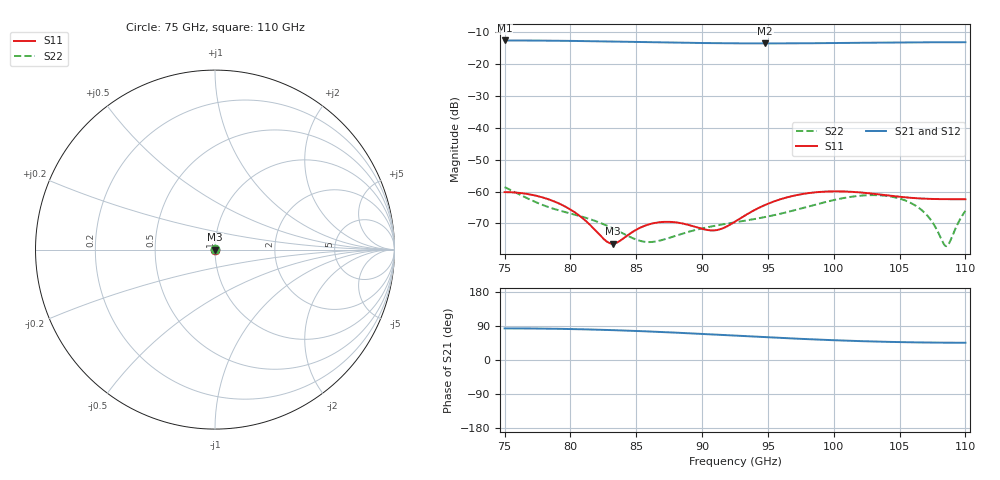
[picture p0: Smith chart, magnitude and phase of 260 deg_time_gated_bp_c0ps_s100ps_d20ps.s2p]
# Hz S RI R 50.000000
! Metas.Vna.Tools, 2.4.7724.19584
! Metas.Vna.Data, 2.4.7724.19560
! Created: UTC 2021.04.29 12:40:11
! FREQ  re:S1,1  im:S1,1  re:S2,1  im:S2,1  re:S1,2  im:S1,2  re:S2,2  im:S2,2
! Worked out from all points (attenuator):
!   1401 points, 75 GHz to 110 GHz, reference 50 ohm
!   highest |S21| = -12.67 dB at 75 GHz (marker M1); lowest = -13.6 dB at 94.8 GHz (marker M2)
!   lowest |S11| = -76.3 dB at 83.2 GHz (marker M3), VSWR 1.00, Z = 50 + j0.00247 ohm
!   |S11| at or under -10 dB: start of sweep to end of sweep
!   |S22| runs from -77.1 to -58.6 dB; largest |S21 - S12| = 0.007
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7.5e10  -9.76e-05 -0.000974  0.0265 0.2309  0.0199 0.2334  -0.000127 0.00117
7.82e10  -0.000132 -0.00076  0.0292 0.229  0.0227 0.2315  0.000332 0.000479
7.96e10  -0.000156 -0.00056  0.032 0.227  0.0256 0.2296  0.000394 0.000267
8.085e10  -0.00017 -0.000354  0.0353 0.2248  0.029 0.2273  0.000386 0.000124
8.2625e10  -0.000162 -6.14e-05  0.0411 0.2207  0.035 0.2233  0.0003 -1.82e-05
8.32e10  -0.00015 2.47e-05  0.0433 0.2192  0.0373 0.2218  0.00026 -5.19e-05
8.5275e10  -7.15e-05 0.00026  0.0522 0.2133  0.0465 0.2158  0.0001 -0.000136
8.6675e10  8.76e-06 0.000328  0.0589 0.2088  0.0535 0.2114  -1.96e-06 -0.000168
8.815e10  0.000103 0.000309  0.0665 0.2039  0.0616 0.2063  -9.21e-05 -0.000186
9.08e10  0.000239 5.67e-05  0.0811 0.1948  0.0771 0.1968  -0.000202 -0.000203
9.25e10  0.000267 -0.000205  0.0907 0.189  0.0876 0.1907  -0.000241 -0.000224
9.48e10  0.000203 -0.000583  0.1036 0.1815  0.1017 0.1826  -0.000257 -0.000305
9.835e10  -8.8e-05 -0.000955  0.1221 0.1713  0.1223 0.1712  -0.000167 -0.00058
1.0165e11  -0.000412 -0.00089  0.1364 0.1638  0.1384 0.1627  3.96e-05 -0.000843
1.04175e11  -0.000595 -0.000628  0.1447 0.1597  0.1479 0.1578  0.000165 -0.000828
1.05575e11  -0.000662 -0.00046  0.1481 0.158  0.1518 0.1559  0.000163 -0.000684
1.067e11  -0.000699 -0.000337  0.1502 0.157  0.1543 0.1547  0.000104 -0.000496
1.0745e11  -0.000716 -0.000268  0.1513 0.1565  0.1555 0.154  3.32e-05 -0.000339
1.08525e11  -0.000732 -0.000196  0.1523 0.156  0.1567 0.1534  -0.000114 -8.05e-05
1.08775e11  -0.000735 -0.000184  0.1525 0.1559  0.1569 0.1533  -0.000155 -1.63e-05
1.095e11  -0.000739 -0.000162  0.1528 0.1558  0.1573 0.1531  -0.000289 0.000174
1.1e11  -0.00074 -0.000157  0.1529 0.1557  0.1574 0.1531  -0.000393 0.000307
